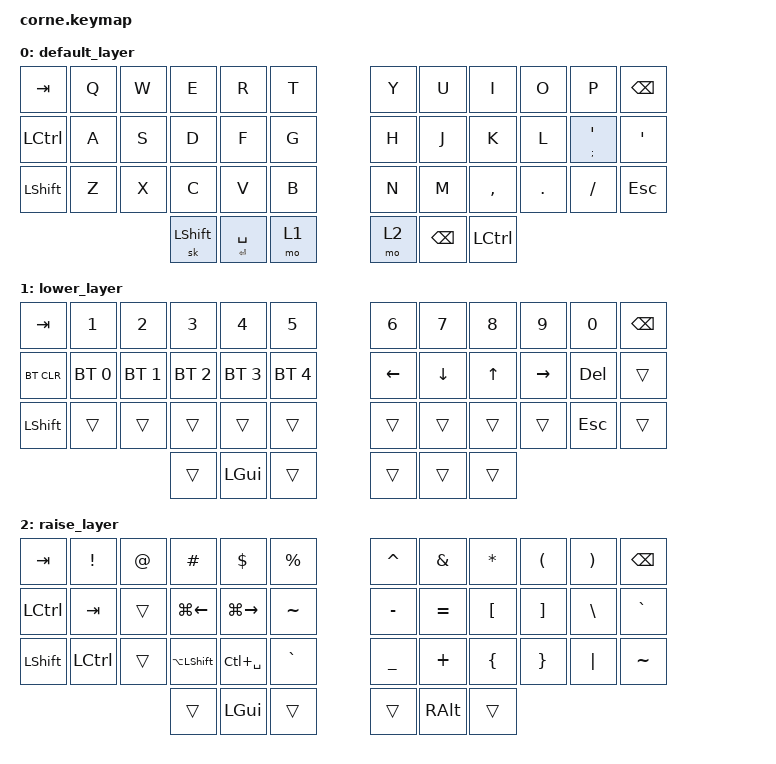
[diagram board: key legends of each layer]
/*
 * Copyright (c) 2020 The ZMK Contributors
 *
 * SPDX-License-Identifier: MIT
 */

#include <behaviors.dtsi>
#include <dt-bindings/zmk/keys.h>
#include <dt-bindings/zmk/bt.h>

/ {
        behaviors {
        mt: mod_tap {
            compatible = "zmk,behavior-hold-tap";
            #binding-cells = <2>;
            flavor = "tap-preferred";
            tapping-term-ms = <200>;
            bindings = <&kp>, <&kp>;
            display-name = "Mod-Tap";
        };
    };
        keymap {
                compatible = "zmk,keymap";

                default_layer {
// -----------------------------------------------------------------------------------------
// |  Q  |  W  |  E  |  R  |  T  |   |  Y  |  U   |  I  |  O  |  P    |
// |  A  |  S  |  D  |  F  |  G  |   |  H  |  J   |  K  |  L  | ' (;) |
// |  Z  |  X  |  C  |  V  |  B  |   |  N  |  M   |  ,  |  .  |  /    |
//     | LSHFT | SPC (ENT) | LWR |   | RSE | BSPC  | LCTRL |
                        bindings = <
   &kp TAB   &kp Q &kp W &kp E &kp R &kp T   &kp Y &kp U  &kp I     &kp O   &kp P    &kp BSPC
   &kp LCTRL &kp A &kp S &kp D &kp F &kp G   &kp H &kp J  &kp K     &kp L   &mt SEMI SQT &kp SQT
   &kp LSHFT &kp Z &kp X &kp C &kp V &kp B   &kp N &kp M  &kp COMMA &kp DOT &kp FSLH &kp ESC
                  &sk LSHFT &mt RET SPACE &mo 1   &mo 2 &kp BSPC &kp LCTRL
                        >;
                };
                lower_layer {
// -----------------------------------------------------------------------------------------
// |  1  |  2  |  3  |  4  |  5  |   |  6  |  7  |  8  |  9  |  0  |
// | BT1 | BT2 | BT3 | BT4 | BT5 |   | LFT | DWN |  UP | RGT | DEL |
// |     |     |     |     |     |   |     |     |     |     | ESC |
//             |LSHFT| GUI |     |   |     | ALT | RSHFT |
                        bindings = <
   &kp TAB    &kp N1       &kp N2       &kp N3       &kp N4       &kp N5         &kp N6   &kp N7   &kp N8 &kp N9    &kp N0 &kp BSPC
   &bt BT_CLR &bt BT_SEL 0 &bt BT_SEL 1 &bt BT_SEL 2 &bt BT_SEL 3 &bt BT_SEL 4   &kp LEFT &kp DOWN &kp UP &kp RIGHT &kp DEL &trans
   &kp LSHFT  &trans       &trans       &trans       &trans       &trans         &trans   &trans   &trans &trans    &kp ESC &trans
                                    &trans     &kp LGUI       &trans      &trans  &trans   &trans
                        >;
                };

                raise_layer {
// -----------------------------------------------------------------------------------------
// |  !  |  @  |  #  |  $  |  %  |   |  ^  |  &  |  *  |  (  |  )  |
// | TAB |     |GUI+L|GUI+R|  ~  |   |  -  |  =  |  [  |  ]  |  \  |
// |LCTRL|     |ALT+S|CTRL+S|  `  |   |  _  |  +  |  {  |  }  | "|" |
//                    | LSHFT | ENT |     |   |     | BSPC | RSHFT |
                        bindings = <
   &kp TAB  &kp EXCL &kp AT &kp HASH &kp DLLR &kp PRCNT   &kp CARET &kp AMPS  &kp ASTRK &kp LPAR &kp RPAR &kp BSPC
   &kp LCTRL &kp TAB   &trans &kp LG(LEFT)   &kp LG(RIGHT)   &kp TILDE      &kp MINUS &kp EQUAL &kp LBKT  &kp RBKT &kp BSLH &kp GRAVE
   &kp LSHFT &kp LCTRL   &trans &kp LA(LSHFT)   &kp LC(SPACE)   &kp GRAVE      &kp UNDER &kp PLUS  &kp LBRC  &kp RBRC &kp PIPE &kp TILDE
                             &trans &kp LGUI   &trans   &trans   &kp RALT    &trans
                        >;
                };
        };
};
